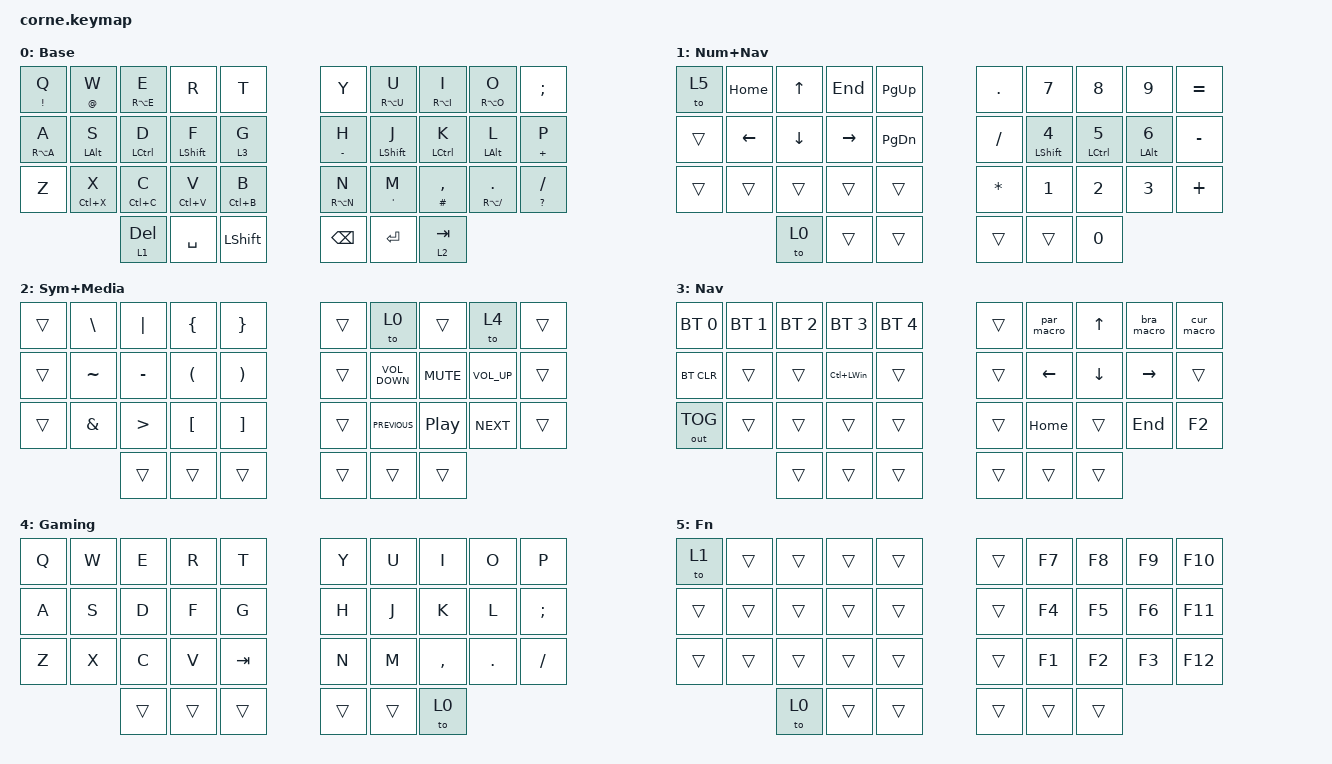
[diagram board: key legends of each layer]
/*
 * Copyright (c) 2020 The ZMK Contributors
 *
 * SPDX-License-Identifier: MIT
 */

#include <behaviors.dtsi>
#include <dt-bindings/zmk/bt.h>
#include <dt-bindings/zmk/keys.h>
#include <dt-bindings/zmk/mouse.h>
#include <dt-bindings/zmk/outputs.h>

&mt {
    flavor = "tap-preferred";
    tapping_term_ms = <200>;
};

&mmv {
    time-to-max-speed-ms = <680>;
    acceleration-exponent = <2>;
};

/ {
    chosen { zmk,matrix_transform = &five_column_transform; };

    behaviors {
        kht: kht {
            compatible = "zmk,behavior-hold-tap";
            label = "Key hold tap";
            bindings = <&kp>, <&kp>;

            #binding-cells = <2>;
            tapping-term-ms = <200>;
            quick-tap-ms = <200>;
            require-prior-idle-ms = <125>;
            flavor = "tap-preferred";
        };
    };

    macros {
        par_macro: par_macro {
            compatible = "zmk,behavior-macro";
            #binding-cells = <0>;
            bindings = <&kp LPAR &kp RPAR &kp LEFT>;
            label = "PAR_MACRO";
        };

        bra_macro: bra_macro {
            compatible = "zmk,behavior-macro";
            #binding-cells = <0>;
            bindings = <&kp LEFT_BRACKET &kp RIGHT_BRACKET &kp LEFT>;
            label = "BRA_MACRO";
        };

        cur_macro: cur_macro {
            compatible = "zmk,behavior-macro";
            #binding-cells = <0>;
            bindings = <&kp LEFT_BRACE &kp RIGHT_BRACE &kp LEFT_ARROW>;
            label = "CUR_MACRO";
        };
    };

    combos {
        compatible = "zmk,combos";

        combo_esc {
            bindings = <&kp ESC>;
            key-positions = <0 1>;
        };

        combo_tab {
            bindings = <&kp TAB>;
            key-positions = <11 13 12>;
        };

        combo_win {
            bindings = <&kp LEFT_WIN>;
            key-positions = <16 17>;
        };

        combo_del {
            bindings = <&kp DELETE>;
            key-positions = <32 33>;
        };

        combo_caps {
            bindings = <&kp CAPSLOCK>;
            key-positions = <13 16>;
        };

        combo_prtsc {
            bindings = <&kp PSCRN>;
            key-positions = <20 9>;
        };

        combo_ralt {
            bindings = <&kp RIGHT_ALT>;
            key-positions = <31 34>;
        };
    };

    keymap {
        compatible = "zmk,keymap";

        base {
            // -----------------------------------------------------------------------------------------
            // |  Q  |  W  |  E  |  R  |  T  |     |  Y  |  U   |  I   |  O   | P |
            // |  A  |  S  |  D  |  F  |  G  |     |  H  |  J   |  K   |  L   | ' | 
            // |  Z  |  X  |  C  |  V  |  B  |     |  N  |  M   | CTRL | META | . |
            //             | GUI | LWR | SPC |     | ENT | RSE  | BSPC |

            display-name = "Base";
            bindings = <
  &kht EXCLAMATION Q  &kht AT_SIGN W   &kht RA(E) E  &kp R              &kp T             &kp Y          &kht RA(U) U       &kht RA(I) I     &kht RA(O) O        &kp SEMICOLON
  &kht RA(A) A        &kht LEFT_ALT S  &kht LCTRL D  &kht LEFT_SHIFT F  &lt 3 G           &kht MINUS H   &kht LEFT_SHIFT J  &kht LCTRL K     &kht LEFT_ALT L     &kht PLUS P
  &kp Z               &kht LC(X) X     &kht LC(C) C  &kht LC(V) V       &kht LC(B) B      &kht RA(N) N   &kht SQT M         &kht HASH COMMA  &kht RA(SLASH) DOT  &kht QUESTION SLASH
                                       &lt 1 DEL     &kp SPACE          &kp LEFT_SHIFT    &kp BACKSPACE  &kp RET            &lt 2 TAB
            >;
        };

        num_nav {
            // -----------------------------------------------------------------------------------------
            // |  1  |  2  |  3  |  4  |  5  |   |  6  |  7  |  8  |  9  |  0  |
            // | BT1 | BT2 | BT3 | BT4 | BT5 |   | LFT | DWN |  UP | RGT |     |
            // |     |     |     |     |     |   |     |     |     |     |     |
            //               | GUI |     | SPC |   | ENT |     | ALT |

            display-name = "Num+Nav";
            bindings = <
  &to 5   &kp HOME  &kp UP_ARROW    &kp END    &kp PG_UP    &kp PERIOD    &kp N7                    &kp N8         &kp N9                  &kp EQUAL
  &trans  &kp LEFT  &kp DOWN_ARROW  &kp RIGHT  &kp PG_DN    &kp SLASH     &kht LEFT_SHIFT NUMBER_4  &kht LCTRL N5  &kht LEFT_ALT NUMBER_6  &kp MINUS
  &trans  &trans    &trans          &trans     &trans       &kp ASTERISK  &kp NUMBER_1              &kp NUMBER_2   &kp NUMBER_3            &kp PLUS
                    &to 0           &trans     &trans       &trans        &trans                    &kp N0
            >;
        };

        sym_media {
            // -----------------------------------------------------------------------------------------
            // |  !  |  @  |  #  |  $  |  %  |   |  ^  |  &  |  *  |  (  |  )  |
            // |     |     |     |     |     |   |  -  |  =  |  [  |  ]  |  \  |
            // |     |     |     |     |     |   |  _  |  +  |  {  |  }  | "|" |
            //            | GUI |     | SPC |   | ENT |     | ALT |

            display-name = "Sym+Media";
            bindings = <
  &trans  &kp BACKSLASH  &kp PIPE          &kp LEFT_BRACE    &kp RBRC             &trans  &to 0              &trans            &to 4            &trans
  &trans  &kp TILDE      &kp MINUS         &kp LPAR          &kp RPAR             &trans  &kp C_VOLUME_DOWN  &kp C_MUTE        &kp C_VOLUME_UP  &trans
  &trans  &kp AMPERSAND  &kp GREATER_THAN  &kp LEFT_BRACKET  &kp RIGHT_BRACKET    &trans  &kp C_PREVIOUS     &kp C_PLAY_PAUSE  &kp C_NEXT       &trans
                         &trans            &trans            &trans               &trans  &trans             &trans
            >;
        };

        nav_layer {
            display-name = "Nav";
            bindings = <
  &bt BT_SEL 0  &bt BT_SEL 1  &bt BT_SEL 2  &bt BT_SEL 3      &bt BT_SEL 4    &trans  &par_macro  &kp UP_ARROW  &bra_macro  &cur_macro
  &bt BT_CLR    &trans        &trans        &kp LC(LEFT_WIN)  &trans          &trans  &kp LEFT    &kp DOWN      &kp RIGHT   &trans
  &out OUT_TOG  &trans        &trans        &trans            &trans          &trans  &kp HOME    &trans        &kp END     &kp F2
                              &trans        &trans            &trans          &trans  &trans      &trans
            >;
        };

        gaming {
            display-name = "Gaming";
            bindings = <
  &kp Q  &kp W  &kp E   &kp R   &kp T      &kp Y   &kp U   &kp I      &kp O    &kp P
  &kp A  &kp S  &kp D   &kp F   &kp G      &kp H   &kp J   &kp K      &kp L    &kp SEMI
  &kp Z  &kp X  &kp C   &kp V   &kp TAB    &kp N   &kp M   &kp COMMA  &kp DOT  &kp FSLH
                &trans  &trans  &trans     &trans  &trans  &to 0
            >;
        };

        fn {
            display-name = "Fn";
            bindings = <
  &to 1   &trans  &trans  &trans  &trans    &trans  &kp F7  &kp F8  &kp F9  &kp F10
  &trans  &trans  &trans  &trans  &trans    &trans  &kp F4  &kp F5  &kp F6  &kp F11
  &trans  &trans  &trans  &trans  &trans    &trans  &kp F1  &kp F2  &kp F3  &kp F12
                  &to 0   &trans  &trans    &trans  &trans  &trans
            >;
        };
    };
};
